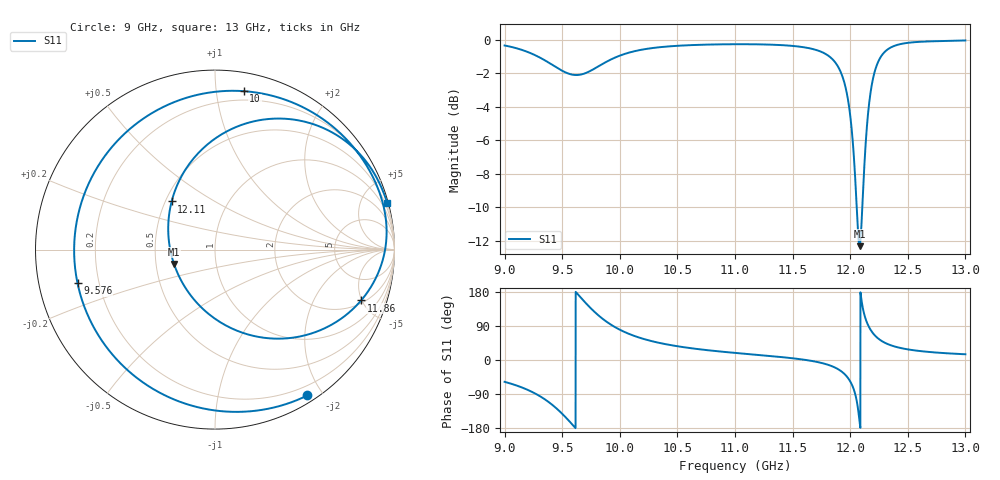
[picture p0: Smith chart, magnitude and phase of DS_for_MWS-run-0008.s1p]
! TOUCHSTONE file generated by CST DESIGN STUDIO
! Date and time: Tue Feb  4 14:19:28 2025
! Project name: C:\Work\MatlabApps\UnitCellOptimizationMatlab\CST\unitcell.cst
! Tree item: Tasks\Sweep1\SPara1\S-Parameters
! Header version: 2024
! Port assignment regex: !\s*Touchstone port\s*([0-9]+)\s*=\s*(CST MWS port|CST DES external port|CST DES block port)\s*(.+)\s* \(\"(.*)\"\)(\s*mode\s*([0-9]+))?.*
! Touchstone port assignment:
! Touchstone port 1 = CST DES external port 1 ("")
# GHz S MA R 50
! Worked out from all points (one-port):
!   4001 points, 9 GHz to 13 GHz, reference 50 ohm
!   lowest |S11| = -12.3 dB at 12.08 GHz (marker M1), VSWR 1.64, Z = 31.1 - j5.24 ohm
!   |S11| at or under -10 dB: 12.05664 GHz to 12.10512 GHz (48.47 MHz wide, 0.401 % of centre)
!   S11 on the Smith chart (normalised r, x): 9 GHz: 0.08, -1.82; 9.576 GHz: 0.12, -0.12; 10 GHz: 0.13, +1.19; 11.86 GHz: 2.24, -4.94; 12.11 GHz: 0.54, +0.33; 13 GHz: 0.13, +7.53
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9  0.9617 -57.6
9.155  0.9317 -73.0
9.306  0.8851 -95.4
9.407  0.8448 -116.7
9.5  0.8082 -141.9
9.576  0.7885 -166.3
9.675  0.7894 160.0
9.792  0.8246 123.8
9.887  0.8608 100.6
10  0.8968 79.9
10.001  0.8971 79.8
10.217  0.9376 54.6
10.5  0.9596 36.3
11  0.9701 18.7
11.5  0.9588 4.6
11.731  0.9259 -6.3
11.863  0.8621 -19.2
11.939  0.7655 -33.8
12  0.595 -56.4
12.041  0.3992 -87.1
12.081  0.242 -160.8
12.113  0.3611 132.0
12.158  0.6166 90.2
12.207  0.7896 67.3
12.258  0.8804 53.2
12.319  0.9327 42.9
12.5  0.9793 28.0
13  0.9955 15.1
